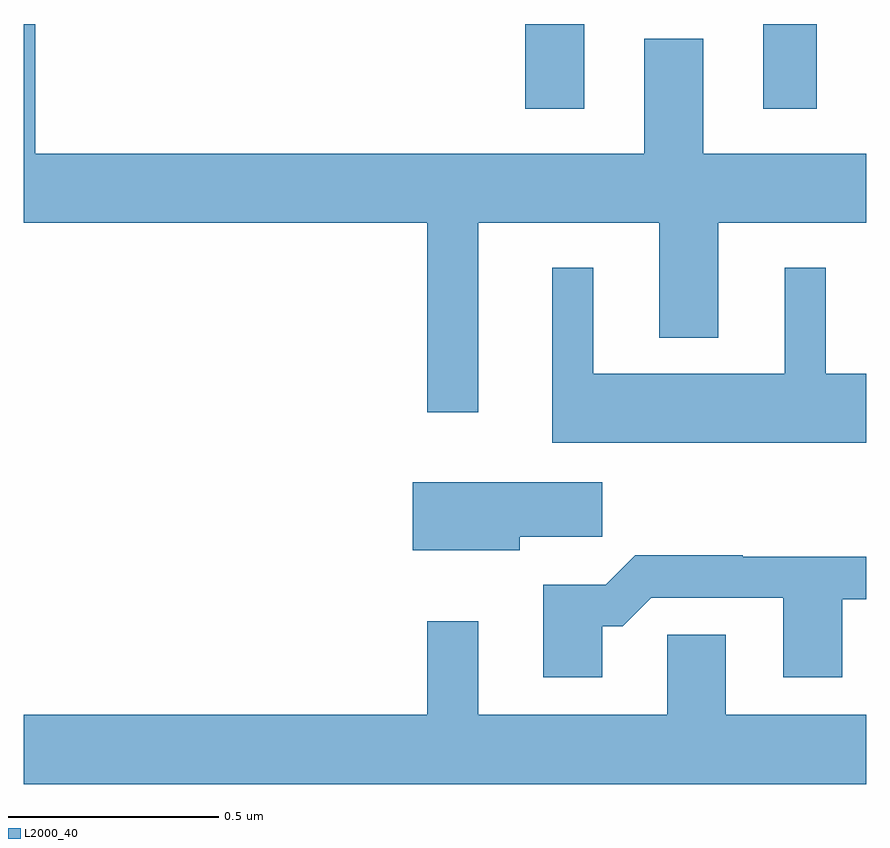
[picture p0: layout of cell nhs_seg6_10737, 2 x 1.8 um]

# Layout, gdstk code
import gdstk
lib = gdstk.Library(unit=1e-6, precision=1e-09)
def R(c, l, rs):  # rectangles x0, y0, x1, y1
    for r in rs: c.add(gdstk.rectangle(r[:2], r[2:], *l))
def P(c, l, *ps):  # polygons
    for p in ps: c.add(gdstk.Polygon(p, *l))
L2000_40 = (2000, 40)

nhs_seg6_10737 = lib.new_cell('nhs_seg6_10737')
R(nhs_seg6_10737, L2000_40, [(252.191,922.299,252.331,922.5), (252.755,922.299,252.883,922.5)])
P(nhs_seg6_10737, L2000_40, [(252.079,922.028),(252.509,922.028),(252.509,921.755),(252.649,921.755),(252.649,922.028),(253,922.028),(253,922.192),(252.613,922.192),(252.613,922.465),(252.473,922.465),(252.473,922.192),(251.027,922.192),(251.027,922.5),(251,922.5),(251,922.028),(251.958,922.028),(251.958,921.579),(252.079,921.579)],
  [(253,921.67),(252.904,921.67),(252.904,921.922),(252.806,921.922),(252.806,921.67),(252.352,921.67),(252.352,921.922),(252.254,921.922),(252.254,921.506),(253,921.506)],
  [(252.178,921.283),(252.373,921.283),(252.373,921.412),(251.924,921.412),(251.924,921.251),(252.178,921.251)],
  [(252.373,921.071),(252.422,921.071),(252.489,921.138),(252.803,921.138),(252.803,920.949),(252.943,920.949),(252.943,921.135),(253,921.135),(253,921.236),(252.707,921.236),(252.707,921.239),(252.452,921.239),(252.382,921.169),(252.233,921.169),(252.233,920.949),(252.373,920.949)],
  [(253,920.86),(252.667,920.86),(252.667,921.05),(252.528,921.05),(252.528,920.86),(252.079,920.86),(252.079,921.082),(251.958,921.082),(251.958,920.86),(251,920.86),(251,920.696),(253,920.696)])

lib.write_gds('nhs_seg6_10737.gds')
